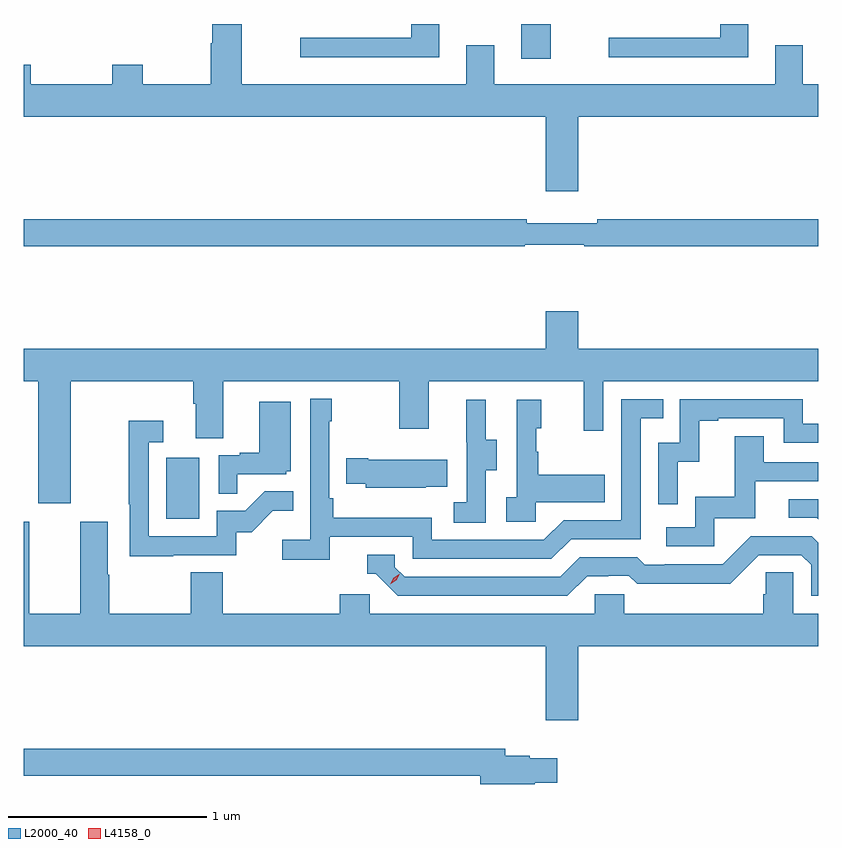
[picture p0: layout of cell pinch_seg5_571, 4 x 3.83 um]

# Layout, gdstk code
import gdstk
lib = gdstk.Library(unit=1e-6, precision=1e-09)
def R(c, l, rs):  # rectangles x0, y0, x1, y1
    for r in rs: c.add(gdstk.rectangle(r[:2], r[2:], *l))
def P(c, l, *ps):  # polygons
    for p in ps: c.add(gdstk.Polygon(p, *l))
L2000_40 = (2000, 40)
L4158_0 = (4158, 0)

pinch_seg5_571 = lib.new_cell('pinch_seg5_571')
R(pinch_seg5_571, L2000_40, [(1134.128,869.388,1134.292,869.695), (1135.913,871.704,1136.061,871.879)])
P(pinch_seg5_571, L2000_40, [(1137.055,871.879),(1136.915,871.879),(1136.915,871.809),(1136.355,871.809),(1136.355,871.712),(1137.055,871.712)],
  [(1136.2,871.412),(1137.409,871.412),(1137.409,871.576),(1137.331,871.576),(1137.331,871.771),(1137.191,871.771),(1137.191,871.576),(1135.777,871.576),(1135.777,871.771),(1135.637,871.771),(1135.637,871.576),(1134.507,871.576),(1134.507,871.879),(1134.359,871.879),(1134.359,871.781),(1134.352,871.781),(1134.352,871.576),(1134.009,871.576),(1134.009,871.675),(1133.854,871.675),(1133.854,871.576),(1133.445,871.576),(1133.445,871.675),(1133.409,871.675),(1133.409,871.412),(1136.036,871.412),(1136.036,871.038),(1136.2,871.038)],
  [(1135.501,871.879),(1135.361,871.879),(1135.361,871.809),(1134.801,871.809),(1134.801,871.712),(1135.501,871.712)],
  [(1135.93,870.768),(1136.23,870.768),(1136.23,870.76),(1137.409,870.76),(1137.409,870.896),(1136.296,870.896),(1136.296,870.877),(1135.94,870.877),(1135.94,870.896),(1133.409,870.896),(1133.409,870.76),(1135.93,870.76)],
  [(1133.647,870.08),(1134.263,870.08),(1134.263,869.968),(1134.275,869.968),(1134.275,869.794),(1134.415,869.794),(1134.415,870.08),(1135.3,870.08),(1135.3,869.841),(1135.447,869.841),(1135.447,870.08),(1136.228,870.08),(1136.228,869.832),(1136.325,869.832),(1136.325,870.08),(1137.409,870.08),(1137.409,870.244),(1136.2,870.244),(1136.2,870.433),(1136.036,870.433),(1136.036,870.244),(1133.409,870.244),(1133.409,870.08),(1133.483,870.08),(1133.483,869.466),(1133.647,869.466)],
  [(1134.95,869.298),(1135.368,869.298),(1135.368,869.187),(1136.065,869.187),(1136.164,869.286),(1136.514,869.286),(1136.514,869.895),(1136.627,869.895),(1136.627,869.991),(1136.418,869.991),(1136.418,869.382),(1136.127,869.382),(1136.028,869.283),(1135.464,869.283),(1135.464,869.395),(1134.968,869.395),(1134.968,869.491),(1134.948,869.491),(1134.948,869.879),(1134.961,869.879),(1134.961,869.992),(1134.852,869.992),(1134.852,869.284),(1134.711,869.284),(1134.711,869.182),(1134.95,869.182)],
  [(1136.7,869.675),(1136.81,869.675),(1136.81,869.883),(1136.905,869.883),(1136.905,869.895),(1137.234,869.895),(1137.234,869.772),(1137.409,869.772),(1137.409,869.868),(1137.33,869.868),(1137.33,869.991),(1136.712,869.991),(1136.712,869.772),(1136.604,869.772),(1136.604,869.463),(1136.7,869.463)],
  [(1135.986,869.471),(1136.333,869.471),(1136.333,869.611),(1135.999,869.611),(1135.999,869.726),(1135.989,869.726),(1135.989,869.844),(1136.014,869.844),(1136.014,869.989),(1135.89,869.989),(1135.89,869.498),(1135.839,869.498),(1135.839,869.373),(1135.986,869.373)],
  [(1135.734,869.632),(1135.789,869.632),(1135.789,869.787),(1135.735,869.787),(1135.735,869.989),(1135.637,869.989),(1135.637,869.775),(1135.638,869.775),(1135.638,869.471),(1135.575,869.471),(1135.575,869.368),(1135.734,869.368)],
  [(1134.485,869.613),(1134.732,869.613),(1134.732,869.628),(1134.754,869.628),(1134.754,869.977),(1134.596,869.977),(1134.596,869.722),(1134.497,869.722),(1134.497,869.709),(1134.39,869.709),(1134.39,869.515),(1134.485,869.515)],
  [(1134.161,869.205),(1134.48,869.205),(1134.48,869.322),(1134.556,869.322),(1134.663,869.429),(1134.767,869.429),(1134.767,869.528),(1134.623,869.528),(1134.525,869.43),(1134.381,869.43),(1134.381,869.301),(1134.039,869.301),(1134.039,869.775),(1134.112,869.775),(1134.112,869.881),(1133.938,869.881),(1133.938,869.461),(1133.943,869.461),(1133.943,869.2),(1134.161,869.2)],
  [(1136.886,869.391),(1137.091,869.391),(1137.091,869.577),(1137.409,869.577),(1137.409,869.673),(1137.133,869.673),(1137.133,869.803),(1136.989,869.803),(1136.989,869.5),(1136.79,869.5),(1136.79,869.346),(1136.643,869.346),(1136.643,869.25),(1136.886,869.25)],
  [(1135.433,869.549),(1135.541,869.549),(1135.541,869.686),(1135.144,869.686),(1135.144,869.694),(1135.033,869.694),(1135.033,869.564),(1135.131,869.564),(1135.131,869.546),(1135.433,869.546)],
  [(1137.409,869.487),(1137.261,869.487),(1137.261,869.394),(1137.402,869.394),(1137.409,869.387)],
  [(1136.2,868.748),(1137.409,868.748),(1137.409,868.912),(1137.282,868.912),(1137.282,869.12),(1137.145,869.12),(1137.145,869.01),(1137.131,869.01),(1137.131,868.912),(1136.433,868.912),(1136.433,869.01),(1136.283,869.01),(1136.283,868.912),(1135.152,868.912),(1135.152,869.01),(1135.001,869.01),(1135.001,868.912),(1134.41,868.912),(1134.41,869.12),(1134.25,869.12),(1134.25,868.912),(1133.841,868.912),(1133.841,869.108),(1133.833,869.108),(1133.833,869.374),(1133.693,869.374),(1133.693,868.912),(1133.437,868.912),(1133.437,869.374),(1133.409,869.374),(1133.409,868.748),(1136.036,868.748),(1136.036,868.374),(1136.2,868.374)],
  [(1136.245,869.1),(1136.352,869.1),(1136.352,869.103),(1136.455,869.103),(1136.497,869.061),(1136.73,869.061),(1136.73,869.063),(1136.966,869.063),(1137.108,869.205),(1137.324,869.205),(1137.372,869.157),(1137.372,869.001),(1137.409,869.001),(1137.409,869.267),(1137.375,869.301),(1137.069,869.301),(1136.928,869.16),(1136.635,869.16),(1136.635,869.157),(1136.536,869.157),(1136.497,869.196),(1136.208,869.196),(1136.109,869.097),(1135.326,869.097),(1135.278,869.145),(1135.278,869.208),(1135.139,869.208),(1135.139,869.112),(1135.182,869.112),(1135.293,869.001),(1136.146,869.001)],
  [(1135.982,868.061),(1136.095,868.061),(1136.095,868.183),(1135.956,868.183),(1135.956,868.196),(1135.834,868.196),(1135.834,868.232),(1133.409,868.232),(1133.409,868.096),(1135.706,868.096),(1135.706,868.054),(1135.982,868.054)])
P(pinch_seg5_571, L4158_0, [(1135.254,869.059),(1135.254,869.06),(1135.271,869.092),(1135.302,869.111),(1135.302,869.111),(1135.302,869.111),(1135.285,869.079),(1135.255,869.059)])

lib.write_gds('pinch_seg5_571.gds')
